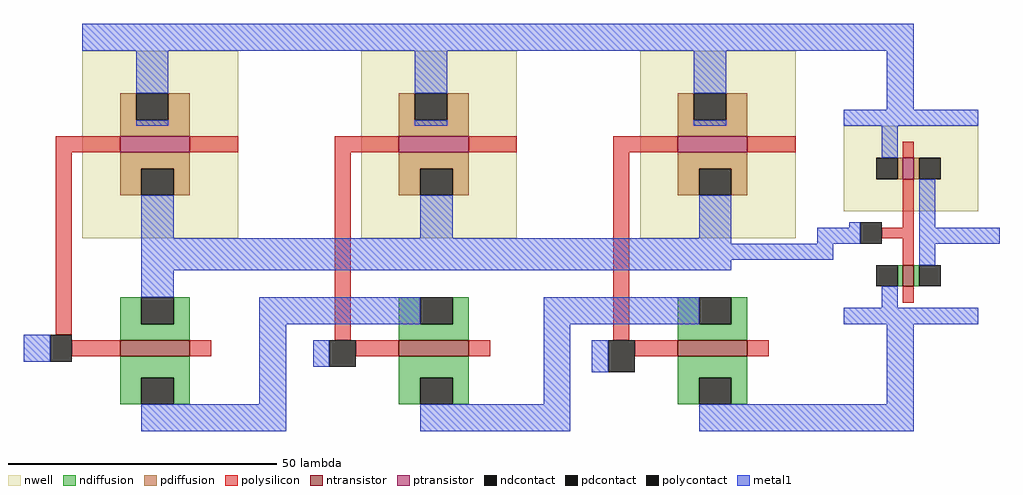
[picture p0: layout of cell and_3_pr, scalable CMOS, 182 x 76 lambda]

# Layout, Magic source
magic
tech scmos
<< nwell >>
rect -57 -6 -28 29
rect -5 -6 24 29
rect 47 -6 76 29
<< ntransistor >>
rect -50 -28 -37 -25
rect 2 -28 15 -25
rect 54 -28 67 -25
<< ptransistor >>
rect -50 10 -37 13
rect 2 10 15 13
rect 54 10 67 13
<< ndiffusion >>
rect -50 -22 -46 -17
rect -40 -22 -37 -17
rect -50 -25 -37 -22
rect 2 -22 6 -17
rect 12 -22 15 -17
rect 2 -25 15 -22
rect 54 -22 58 -17
rect 64 -22 67 -17
rect 54 -25 67 -22
rect -50 -32 -37 -28
rect -50 -37 -46 -32
rect -40 -37 -37 -32
rect 2 -32 15 -28
rect 2 -37 6 -32
rect 12 -37 15 -32
rect 54 -32 67 -28
rect 54 -37 58 -32
rect 64 -37 67 -32
<< pdiffusion >>
rect -50 16 -47 21
rect -41 16 -37 21
rect -50 13 -37 16
rect 2 16 5 21
rect 11 16 15 21
rect 2 13 15 16
rect 54 16 57 21
rect 63 16 67 21
rect 54 13 67 16
rect -50 7 -37 10
rect -50 2 -46 7
rect -40 2 -37 7
rect 2 7 15 10
rect 2 2 6 7
rect 12 2 15 7
rect 54 7 67 10
rect 54 2 58 7
rect 64 2 67 7
<< ndcontact >>
rect -46 -22 -40 -17
rect 6 -22 12 -17
rect 58 -22 64 -17
rect -46 -37 -40 -32
rect 6 -37 12 -32
rect 58 -37 64 -32
<< pdcontact >>
rect -47 16 -41 21
rect 5 16 11 21
rect 57 16 63 21
rect -46 2 -40 7
rect 6 2 12 7
rect 58 2 64 7
<< polysilicon >>
rect -62 10 -50 13
rect -37 10 -28 13
rect -10 10 2 13
rect 15 10 24 13
rect 42 10 54 13
rect 67 10 76 13
rect -62 -24 -59 10
rect -10 -25 -7 10
rect 42 -25 45 10
rect -59 -28 -50 -25
rect -37 -28 -33 -25
rect -6 -28 2 -25
rect 15 -28 19 -25
rect 46 -28 54 -25
rect 67 -28 71 -25
<< polycontact >>
rect -63 -29 -59 -24
rect -11 -30 -6 -25
rect 41 -31 46 -25
<< metal1 >>
rect -57 29 98 34
rect -47 21 -41 29
rect -47 15 -41 16
rect 5 21 11 29
rect 5 15 11 16
rect 57 21 63 29
rect 93 16 98 29
rect 57 15 63 16
rect -46 -6 -40 2
rect 6 -6 12 2
rect 58 -6 64 2
rect -46 -7 64 -6
rect 80 -5 86 -4
rect 80 -7 88 -5
rect 107 -7 114 -4
rect -46 -10 83 -7
rect -46 -12 64 -10
rect -46 -17 -40 -12
rect -24 -22 6 -17
rect 29 -22 58 -17
rect -68 -29 -63 -24
rect -24 -37 -19 -22
rect -14 -30 -11 -25
rect -46 -42 -19 -37
rect 29 -37 34 -22
rect 38 -31 41 -25
rect 6 -42 34 -37
rect 93 -37 98 -20
rect 58 -42 98 -37
use inverter_unlab_pr  inverter_unlab_pr_0 /home/rupakantani
transform 1 0 94 0 1 -2
box -9 -20 16 20
<< end >>

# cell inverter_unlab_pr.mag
magic
tech scmos
<< nwell >>
rect -9 1 16 17
<< ntransistor >>
rect 2 -13 4 -9
<< ptransistor >>
rect 2 7 4 11
<< ndiffusion >>
rect 1 -13 2 -9
rect 4 -13 5 -9
<< pdiffusion >>
rect 1 7 2 11
rect 4 7 5 11
<< ndcontact >>
rect -3 -13 1 -9
rect 5 -13 9 -9
<< pdcontact >>
rect -3 7 1 11
rect 5 7 9 11
<< polysilicon >>
rect 2 11 4 14
rect 2 -2 4 7
rect -2 -4 4 -2
rect 2 -9 4 -4
rect 2 -16 4 -13
<< polycontact >>
rect -6 -5 -2 -1
<< metal1 >>
rect -9 17 16 20
rect -2 11 1 17
rect -8 -5 -6 -1
rect 5 -2 8 7
rect 5 -5 16 -2
rect 5 -9 8 -5
rect -2 -17 1 -13
rect -9 -20 16 -17
<< end >>
